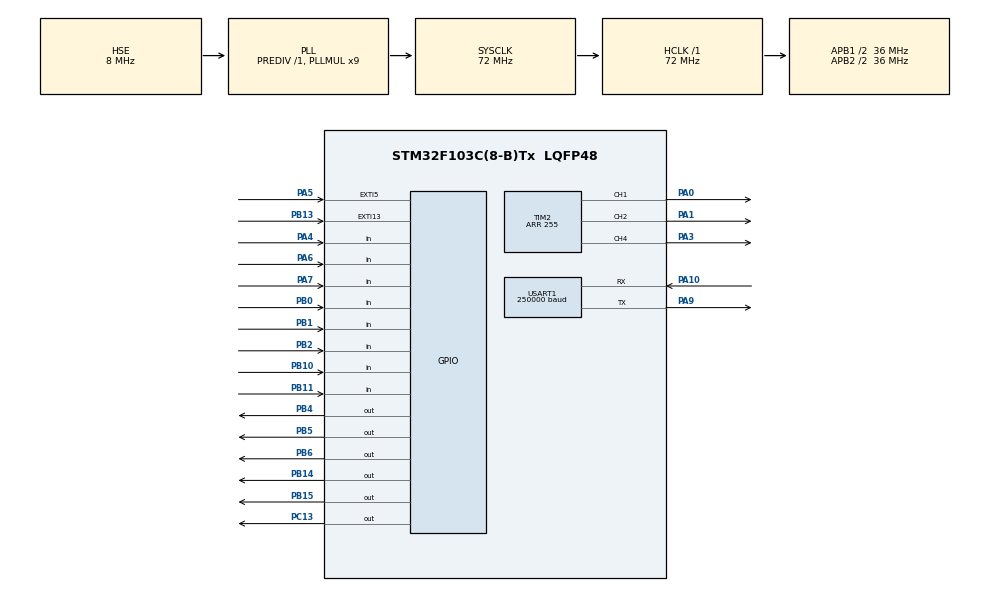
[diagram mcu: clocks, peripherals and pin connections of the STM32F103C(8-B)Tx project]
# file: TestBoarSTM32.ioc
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Mcu.Family=STM32F1
Mcu.Name=STM32F103C(8-B)Tx
Mcu.Package=LQFP48
NVIC.EXTI15_10_IRQn=true\:0\:0\:false\:false\:true\:true\:true\:true
NVIC.PriorityGroup=NVIC_PRIORITYGROUP_4
NVIC.TIM1_UP_IRQn=true\:0\:0\:false\:false\:true\:true\:true\:true
NVIC.USART1_IRQn=true\:1\:0\:true\:false\:true\:true\:true\:true
PA0-WKUP.Signal=S_TIM2_CH1_ETR
PA1.Signal=S_TIM2_CH2
PA10.Mode=Asynchronous
PA10.Signal=USART1_RX
PA13.Mode=Serial_Wire
PA13.Signal=SYS_JTMS-SWDIO
PA14.Mode=Serial_Wire
PA14.Signal=SYS_JTCK-SWCLK
PA3.Signal=S_TIM2_CH4
PA4.GPIO_PuPd=GPIO_PULLUP
PA4.Signal=GPIO_Input
PA5.GPIO_PuPd=GPIO_PULLUP
PA5.Signal=GPXTI5
PA6.GPIO_PuPd=GPIO_PULLUP
PA6.Signal=GPIO_Input
PA7.GPIO_PuPd=GPIO_PULLUP
PA7.Signal=GPIO_Input
PA9.Mode=Asynchronous
PA9.Signal=USART1_TX
PB0.GPIO_PuPd=GPIO_PULLUP
PB0.Signal=GPIO_Input
PB1.GPIO_PuPd=GPIO_PULLUP
PB1.Signal=GPIO_Input
PB10.GPIO_PuPd=GPIO_PULLUP
PB10.Signal=GPIO_Input
PB11.GPIO_PuPd=GPIO_PULLUP
PB11.Signal=GPIO_Input
PB13.Signal=GPXTI13
PB14.Signal=GPIO_Output
PB15.Signal=GPIO_Output
PB2.GPIO_PuPd=GPIO_PULLUP
PB2.Signal=GPIO_Input
PB4.Signal=GPIO_Output
PB5.Signal=GPIO_Output
PB6.Signal=GPIO_Output
PC13-TAMPER-RTC.Signal=GPIO_Output
PC14-OSC32_IN.Mode=LSE-External-Oscillator
PC14-OSC32_IN.Signal=RCC_OSC32_IN
PC15-OSC32_OUT.Mode=LSE-External-Oscillator
PC15-OSC32_OUT.Signal=RCC_OSC32_OUT
PD0-OSC_IN.Mode=HSE-External-Oscillator
PD0-OSC_IN.Signal=RCC_OSC_IN
PD1-OSC_OUT.Mode=HSE-External-Oscillator
PD1-OSC_OUT.Signal=RCC_OSC_OUT
ProjectManager.HeapSize=0x200
ProjectManager.StackSize=0x400
ProjectManager.TargetToolchain=MDK-ARM V5.32
RCC.AHBFreq_Value=72000000
RCC.APB1CLKDivider=RCC_HCLK_DIV2
RCC.APB1Freq_Value=36000000
RCC.APB1TimFreq_Value=72000000
RCC.APB2CLKDivider=RCC_HCLK_DIV2
RCC.APB2Freq_Value=36000000
RCC.APB2TimFreq_Value=72000000
RCC.HCLKFreq_Value=72000000
RCC.PLLMUL=RCC_PLL_MUL9
RCC.PLLSourceVirtual=RCC_PLLSOURCE_HSE
RCC.SYSCLKFreq_VALUE=72000000
RCC.SYSCLKSource=RCC_SYSCLKSOURCE_PLLCLK
RCC.USBFreq_Value=72000000
SH.S_TIM2_CH1_ETR.0=TIM2_CH1,PWM Generation1 CH1
SH.S_TIM2_CH2.0=TIM2_CH2,PWM Generation2 CH2
SH.S_TIM2_CH4.0=TIM2_CH4,PWM Generation4 CH4
TIM1.Period=5
TIM1.Prescaler=580
TIM2.Channel-PWM\ Generation1\ CH1=TIM_CHANNEL_1
TIM2.Channel-PWM\ Generation2\ CH2=TIM_CHANNEL_2
TIM2.Channel-PWM\ Generation4\ CH4=TIM_CHANNEL_4
TIM2.Period=255
USART1.BaudRate=250000
USART1.Mode=MODE_RX
USART1.StopBits=STOPBITS_2
USART1.VirtualMode=VM_ASYNC
VP_TIM1_VS_ClockSourceINT.Mode=Internal
VP_TIM2_VS_ClockSourceINT.Mode=Internal
board=custom

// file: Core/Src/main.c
/* USER CODE BEGIN Header */
/**
  ******************************************************************************
  * @file           : main.c
  * @brief          : Main program body
  ******************************************************************************
  * @attention
  *
  * Copyright (c) 2022 STMicroelectronics.
  * All rights reserved.
  *
  * This software is licensed under terms that can be found in the LICENSE file
  * in the root directory of this software component.
  * If no LICENSE file comes with this software, it is provided AS-IS.
  *
  ******************************************************************************
  */
/* USER CODE END Header */
#include "main.h"

/* USER CODE BEGIN Includes */
#define ADDRES_PIN_1 GPIOB, GPIO_PIN_11
#define ADDRES_PIN_2 GPIOB, GPIO_PIN_10
#define ADDRES_PIN_3 GPIOB, GPIO_PIN_2
#define ADDRES_PIN_4 GPIOB, GPIO_PIN_1
#define ADDRES_PIN_5 GPIOB, GPIO_PIN_0
#define ADDRES_PIN_6 GPIOA, GPIO_PIN_7
#define ADDRES_PIN_7 GPIOA, GPIO_PIN_6
#define ADDRES_PIN_8 GPIOA, GPIO_PIN_5
#define ADDRES_PIN_9 GPIOA, GPIO_PIN_4

#define STEP_MODE_1_1		0
#define STEP_MODE_1_2		1
#define STEP_MODE_1_4		2
#define STEP_MODE_1_8		3
#define STEP_MODE_1_16	4
#define STEP_MODE_1_32	5

#define ZERO_FOUND 		 				0
#define START_SEARHING_ZERO		1
#define SEARHING_ZERO  				2

//Протокол управления 0 - STEP_DIR 1 -  CW_CCW
#define PROTOCOL 0

#include <math.h>

#define MOVE 1
#define STOP 0

//Количество импульсов на один оборот мотора
int Steps_Rev = 3200;
//Максимальное кол-во оборотов при значении 255 на первом канале DMX
int64_t Max_Rev = 255;

//Множитель для получения необходимых кол-ва импульсов от 0 до 255 значений канала позиции
float multiplier = 0.0f;

float error = 0;
float max_error = 0;

int64_t setPosition = 0;
float set_speed = 0.0f;
float a = 1.0f/5000;

char search_zero = ZERO_FOUND;
char state = STOP;

//Тормозной путь при текущей скорости и ускорении
float deseleration_distance = 0;

//Точка в которой остановимся если начнем сейчас тормозить с заданным ускорением
int64_t stop_position = 0;

//Текущая скорость
double actualSpeed = 0;

//Текущее ускорение
float actualAcceleration = 0;

//Прошлое значение позиции, дробная часть
float oldActualPosition = 0;
//Прошлое значение позиции, целая часть, полное кол-во сделанных шагов
int64_t full_oldActualPosition = 0;

int64_t full_steps_actual_position = 0;
float actualPosition = 0;

//Переменные для работы DMX
#define COUNT_CHANNELS 7

uint8_t data[COUNT_CHANNELS] = {0};
uint8_t data_old[COUNT_CHANNELS] = {0};

//Номер текущего принимаемого канала, при отлове ошибки передачи, считаем что передача кадра завершена, будем обнулять DMX_Current_Channel для того что-бы заново копить каналы в буфер
unsigned int DMX_Current_Channel = 0;

//С какого канала начинаем принимать данные, по сути адрес DMX устройства
uint16_t DMX_Start_Channel = 0;

char DMX_Break = 0;

uint8_t byte_receive[1] = {0};

_Bool swich_arrdess[9] = {0};

/* USER CODE END Includes */

TIM_HandleTypeDef htim1;
TIM_HandleTypeDef htim2;

UART_HandleTypeDef huart1;

void SystemClock_Config(void);
static void MX_GPIO_Init(void);
static void MX_USART1_UART_Init(void);
static void MX_TIM1_Init(void);
static void MX_TIM2_Init(void);

/* USER CODE BEGIN 0 */

//Выбор режима микрошага для драйвера drv8825
void set_step_mode( int8_t type_mode)
{
	switch(type_mode) {

		case STEP_MODE_1_1:
			HAL_GPIO_WritePin(GPIOB, GPIO_PIN_4, GPIO_PIN_RESET);	//M0
			HAL_GPIO_WritePin(GPIOB, GPIO_PIN_5, GPIO_PIN_RESET); //M1
			HAL_GPIO_WritePin(GPIOB, GPIO_PIN_6, GPIO_PIN_RESET);	//M2
		break;

		case STEP_MODE_1_2:
			HAL_GPIO_WritePin(GPIOB, GPIO_PIN_4, GPIO_PIN_SET);	//M0
			HAL_GPIO_WritePin(GPIOB, GPIO_PIN_5, GPIO_PIN_RESET); //M1
			HAL_GPIO_WritePin(GPIOB, GPIO_PIN_6, GPIO_PIN_RESET);	//M2
		break;

		case STEP_MODE_1_4:
			HAL_GPIO_WritePin(GPIOB, GPIO_PIN_4, GPIO_PIN_RESET);	//M0
			HAL_GPIO_WritePin(GPIOB, GPIO_PIN_5, GPIO_PIN_SET); //M1
			HAL_GPIO_WritePin(GPIOB, GPIO_PIN_6, GPIO_PIN_RESET);	//M2
		break;

		case STEP_MODE_1_8:
			HAL_GPIO_WritePin(GPIOB, GPIO_PIN_4, GPIO_PIN_SET);	//M0
			HAL_GPIO_WritePin(GPIOB, GPIO_PIN_5, GPIO_PIN_SET); //M1
			HAL_GPIO_WritePin(GPIOB, GPIO_PIN_6, GPIO_PIN_RESET);	//M2
		break;

		case STEP_MODE_1_16:
			HAL_GPIO_WritePin(GPIOB, GPIO_PIN_4, GPIO_PIN_RESET);	//M0
			HAL_GPIO_WritePin(GPIOB, GPIO_PIN_5, GPIO_PIN_RESET); //M1
			HAL_GPIO_WritePin(GPIOB, GPIO_PIN_6, GPIO_PIN_SET);	//M2
		break;

		case STEP_MODE_1_32:
			HAL_GPIO_WritePin(GPIOB, GPIO_PIN_4, GPIO_PIN_RESET);	//M0
			HAL_GPIO_WritePin(GPIOB, GPIO_PIN_5, GPIO_PIN_SET); //M1
			HAL_GPIO_WritePin(GPIOB, GPIO_PIN_6, GPIO_PIN_SET);	//M2
		break;
	}
}

//Функция ожидания прихода в заданную точку
void Waiting_End_Move()
{
	HAL_Delay(10);
	while(state == MOVE) HAL_Delay(1);
}

//Обработчик прерывания датчика нуля
void HAL_GPIO_EXTI_Callback(uint16_t GPIO_Pin)
{
  if (GPIO_Pin == GPIO_PIN_13 && search_zero == SEARHING_ZERO)
  {
    actualPosition = 0;
		full_steps_actual_position = 0;
		setPosition = 0;
		search_zero = ZERO_FOUND;

  }
  else
    {
      __NOP();

    }
}

//Прерывание, срабатывает когда получен байт по UART
	void HAL_UART_RxCpltCallback (UART_HandleTypeDef *huart) {

  if(huart == &huart1)
		{
			//HAL_GPIO_TogglePin(GPIOC, GPIO_PIN_13);

			//Для того, что бы начать принимать только после получения сигнала BREAK, иначе после включения, рискуем принимать в середине передачи.
			if (DMX_Break == 1){

				if ((DMX_Current_Channel >= DMX_Start_Channel) && DMX_Current_Channel < (DMX_Start_Channel + COUNT_CHANNELS)){
					data[(DMX_Current_Channel - DMX_Start_Channel)] = byte_receive[0];
				}
				DMX_Current_Channel++;

			}
			//Ожидаем байта данных следующего канала
			HAL_UART_Receive_IT(&huart1, byte_receive, 1);

		}
}

void HAL_UART_ErrorCallback ( UART_HandleTypeDef *huart)
{
	//HAL_GPIO_TogglePin(GPIOC, GPIO_PIN_13);

		if (huart == &huart1)
			{

				__HAL_UART_CLEAR_FEFLAG(huart);

				DMX_Break = 1;

				if(DMX_Current_Channel > 513 )
				{
//					if(data[1] > 100 ) HAL_GPIO_WritePin(GPIOC, GPIO_PIN_13, GPIO_PIN_SET);
//					else HAL_GPIO_WritePin(GPIOC, GPIO_PIN_13, GPIO_PIN_RESET);
					//Если на одном из каналов произошло изменение, мигаем светодиодом
					if(
						data_old[0] != data[0] ||
						data_old[1] != data[1] ||
						data_old[2] != data[2] ||
						data_old[3] != data[3] ||
						data_old[4] != data[4] ||
						data_old[5] != data[5] ||
						data_old[6] != data[6]
						)
					{
						HAL_GPIO_WritePin(GPIOC, GPIO_PIN_13, GPIO_PIN_SET);
					}

					else HAL_GPIO_WritePin(GPIOC, GPIO_PIN_13, GPIO_PIN_RESET);

					if(search_zero == ZERO_FOUND)
					{

							setPosition = data[0]*255;
							setPosition += data[1];
							setPosition = setPosition*multiplier;
							set_speed = (data[2]/255.0)*0.7;
							a = 1.0/((((data[3]*data[3])/65025.0)*2000000)+1500);

						//a = 1.0/((data[3]*10000)+1500);
					}
	//				__HAL_TIM_SET_COMPARE(&htim2, TIM_CHANNEL_1, 65535);
	//				__HAL_TIM_SET_COMPARE(&htim2, TIM_CHANNEL_2, 64535);
	//				__HAL_TIM_SET_COMPARE(&htim2, TIM_CHANNEL_3, 65535);

					if(data_old[4] != data[4]) TIM2->CCR2 = data[4];
					if(data_old[5] != data[5]) TIM2->CCR1 = data[5];
					if(data_old[6] != data[6]) TIM2->CCR4 = data[6];

					memcpy(data_old , data, COUNT_CHANNELS);
				}
				DMX_Current_Channel = 0;

				//HAL_GPIO_TogglePin(GPIOC, GPIO_PIN_13);

			}

}

// функция которая срабатывает по таймеру 1, она расчитывает траекторию и говорит мотору когда нужно сделать шаг.

void HAL_TIM_PeriodElapsedCallback(TIM_HandleTypeDef *htim)
{

//			if(HAL_GPIO_ReadPin(GPIOB, GPIO_PIN_2) == 1) HAL_GPIO_WritePin(GPIOB, GPIO_PIN_5, GPIO_PIN_RESET);
//			else HAL_GPIO_WritePin(GPIOB, GPIO_PIN_5, GPIO_PIN_SET);

			error = 0;
			//Тормозной путь при текущей скорости и ускорении
			deseleration_distance = ( (fabs(actualSpeed) - a) * fabs(actualSpeed) ) / (2.0f * a) ;

			//Точка в которой остановимся если начнем сейчас тормозить с заданным ускорением
			stop_position = full_steps_actual_position;

			//Если протокол управления драйвером 0 - STEP/DIR
			#if PROTOCOL == 0
			HAL_GPIO_WritePin(GPIOB, GPIO_PIN_15, GPIO_PIN_RESET);
			#endif

			//Если протокол управления драйвером 1 - CW/CCW
			#if PROTOCOL == 1
			HAL_GPIO_WritePin(GPIOB, GPIO_PIN_15, GPIO_PIN_RESET);
			HAL_GPIO_WritePin(GPIOB, GPIO_PIN_14, GPIO_PIN_RESET);
			#endif

			//Расчитываем точу остановки, если начнем сейчас тормозить
			if (actualSpeed < 0) stop_position = full_steps_actual_position + (actualPosition - deseleration_distance);
			if (actualSpeed > 0) stop_position = full_steps_actual_position + (actualPosition + deseleration_distance);

			if(fabs(stop_position - setPosition) < 0.000001f) stop_position = setPosition;

			oldActualPosition = actualPosition;
			full_oldActualPosition = full_steps_actual_position;

			if (setPosition != full_steps_actual_position && actualSpeed != 0)
			{
				state = MOVE;
				HAL_GPIO_WritePin(GPIOB, GPIO_PIN_4, GPIO_PIN_RESET);
			}

				error = fabs(setPosition - stop_position);

				//Если мы сейчас начнём тормозить и проедем нужную точку
				if (
					(actualSpeed > 0 && stop_position >= setPosition && error < 4)||
					(actualSpeed < 0 && stop_position <= setPosition && error < 4))
				{

					if(max_error < error) max_error = error;

					//if(error > 4 ) HAL_GPIO_WritePin(GPIOB, GPIO_PIN_4, GPIO_PIN_SET);

					if( actualSpeed > 0 ) actualSpeed -= a;
					if( actualSpeed < 0 ) actualSpeed += a;

					actualPosition += actualSpeed;
					if(actualPosition >= 1)
					{
						actualPosition -= 1;
						full_steps_actual_position += 1;
					}
					if(actualPosition < 0)
					{
						actualPosition += 1;
						full_steps_actual_position -= 1;
					}

					if ((full_steps_actual_position >= setPosition && full_oldActualPosition < setPosition)||(full_oldActualPosition <= setPosition && full_oldActualPosition > setPosition))
					//if (fabs(actualPosition - setPosition ) <= 0.002)
					{
						state = STOP;
						full_steps_actual_position = setPosition;
						actualPosition = 0;
						actualSpeed = 0;
						HAL_GPIO_WritePin(GPIOB, GPIO_PIN_4, GPIO_PIN_SET);

					}

				}

				else
				{
					if (full_steps_actual_position < setPosition)
					{
						if (actualSpeed > set_speed)
						{
							actualSpeed -= a;
							if (actualSpeed < set_speed) actualSpeed = set_speed;

						}
						else if (actualSpeed < set_speed)
						{
							actualSpeed += a;
							if (actualSpeed > set_speed) actualSpeed = set_speed;
						}
					}
					else if (full_steps_actual_position > setPosition)
					{
						if (actualSpeed > -set_speed)
						{
							actualSpeed -= a;
							if (actualSpeed < -set_speed) actualSpeed = -set_speed;

						}
						else if (actualSpeed < -set_speed)
						{
							actualSpeed += a;
							if (actualSpeed > -set_speed) actualSpeed = -set_speed;
						}
					}
					actualPosition += actualSpeed;
					if(actualPosition >= 1)
					{
						actualPosition -= 1;
						full_steps_actual_position += 1;
					}
					if(actualPosition < 0)
					{
						actualPosition += 1;
						full_steps_actual_position -= 1;
					}

				}
				//STEP_DIR
				#if PROTOCOL == 0

				//Если актуальная позиция увеличилась на целое число по сравнению с прошлой позицией, устанавливаем прямое направление на ноге DIR контроллера ШД.
				if(full_steps_actual_position > full_oldActualPosition)
				{
					HAL_GPIO_WritePin(GPIOB, GPIO_PIN_14, GPIO_PIN_SET);

				}
				//А если уменьшилась, то устанавливаем обратное направление на ноге DIR контроллера ШД
				if(full_steps_actual_position < full_oldActualPosition)
				{
					HAL_GPIO_WritePin(GPIOB, GPIO_PIN_14, GPIO_PIN_RESET);

				}

				//Если прошлое значение актуальной позиции изменилось на целое число, шлём импульс на перемещение
				if(full_steps_actual_position != full_oldActualPosition)
				{
					HAL_GPIO_WritePin(GPIOB, GPIO_PIN_15, GPIO_PIN_SET);
				}

				#endif

				//CW_CCW
				#if PROTOCOL == 1

				//Если актуальная позиция увеличилась на целое число по сравнению с прошлой позицией, даем импульс на 15 ногу.
				if(full_steps_actual_position > full_oldActualPosition)
				{
					HAL_GPIO_WritePin(GPIOB, GPIO_PIN_15, GPIO_PIN_SET);

				}
				//А если уменьшилась, даем импульс на 14 ногу.
				if(full_steps_actual_position < full_oldActualPosition)
				{
					HAL_GPIO_WritePin(GPIOB, GPIO_PIN_14, GPIO_PIN_SET);

				}

				#endif

}

/* USER CODE END 0 */

int main(void)
{

  /* MCU Configuration--------------------------------------------------------*/

  /* Reset of all peripherals, Initializes the Flash interface and the Systick. */
  HAL_Init();

  /* Configure the system clock */
  SystemClock_Config();

  /* Initialize all configured peripherals */
  MX_GPIO_Init();
  MX_USART1_UART_Init();
  MX_TIM1_Init();
  MX_TIM2_Init();
  /* USER CODE BEGIN 2 */

	HAL_GPIO_WritePin(GPIOB, GPIO_PIN_6, GPIO_PIN_RESET);
	HAL_GPIO_WritePin(GPIOB, GPIO_PIN_5, GPIO_PIN_RESET);
	HAL_GPIO_WritePin(GPIOB, GPIO_PIN_4, GPIO_PIN_RESET);

	swich_arrdess[0] = !HAL_GPIO_ReadPin(ADDRES_PIN_1);
	swich_arrdess[1] = !HAL_GPIO_ReadPin(ADDRES_PIN_2);
	swich_arrdess[2] = !HAL_GPIO_ReadPin(ADDRES_PIN_3);
	swich_arrdess[3] = !HAL_GPIO_ReadPin(ADDRES_PIN_4);
	swich_arrdess[4] = !HAL_GPIO_ReadPin(ADDRES_PIN_5);
	swich_arrdess[5] = !HAL_GPIO_ReadPin(ADDRES_PIN_6);
	swich_arrdess[6] = !HAL_GPIO_ReadPin(ADDRES_PIN_7);
	swich_arrdess[7] = !HAL_GPIO_ReadPin(ADDRES_PIN_8);
	swich_arrdess[8] = !HAL_GPIO_ReadPin(ADDRES_PIN_9);

	for (int i = 0; i <= 8; i++)
	{

        if (swich_arrdess[i]) {

            DMX_Start_Channel |= 1 << i;
        }

  }
	if(DMX_Start_Channel == 0)
		{
			while(1)
			{
				HAL_GPIO_WritePin(GPIOC, GPIO_PIN_13, GPIO_PIN_SET);
				HAL_Delay(100);
				HAL_GPIO_WritePin(GPIOC, GPIO_PIN_13, GPIO_PIN_RESET);
				HAL_Delay(100);
				HAL_GPIO_WritePin(GPIOC, GPIO_PIN_13, GPIO_PIN_SET);
				HAL_Delay(100);
				HAL_GPIO_WritePin(GPIOC, GPIO_PIN_13, GPIO_PIN_RESET);
				HAL_Delay(1000);

			}
		}

	DMX_Start_Channel = DMX_Start_Channel;

	HAL_TIM_Base_Start_IT(&htim1);

	HAL_TIM_PWM_Start(&htim2, TIM_CHANNEL_1);
	HAL_TIM_PWM_Start(&htim2, TIM_CHANNEL_2);
	HAL_TIM_PWM_Start(&htim2, TIM_CHANNEL_3);
	HAL_TIM_PWM_Start(&htim2, TIM_CHANNEL_4);

	TIM2->CCR1 = 150;
	HAL_Delay(200);
	TIM2->CCR1 = 0;
	TIM2->CCR2 = 150;
	HAL_Delay(200);
	TIM2->CCR1 = 0;
	TIM2->CCR2 = 0;
	TIM2->CCR4 = 150;
	HAL_Delay(200);
	TIM2->CCR1 = 0;
	TIM2->CCR2 = 0;
	TIM2->CCR4 = 0;

	//set_step_mode(STEP_MODE_1_8);

	HAL_GPIO_WritePin(GPIOB, GPIO_PIN_4, GPIO_PIN_SET);	//M0
	HAL_GPIO_WritePin(GPIOB, GPIO_PIN_5, GPIO_PIN_SET); //M1
	HAL_GPIO_WritePin(GPIOB, GPIO_PIN_6, GPIO_PIN_SET); //M1

	HAL_UART_Receive_IT(&huart1, byte_receive, 1);

	multiplier = ((float)Steps_Rev * (float)Max_Rev)/65025.0f;

	set_speed = 0.01;
	a = 1.0/1000;

  /* USER CODE END 2 */

  /* Infinite loop */
  /* USER CODE BEGIN WHILE */
  while (1)
  {

		if(search_zero == START_SEARHING_ZERO)
		{
			//Если датчик уже перекрыт, то отъезжаем немного назад и потом движемся до срабатывания прерывания по датчику нуля
			if(HAL_GPIO_ReadPin(GPIOB, GPIO_PIN_13) == 1)
			{
				setPosition = -50;
				Waiting_End_Move();
				search_zero = SEARHING_ZERO;
				setPosition = 1000000;
			}
			//Если датчик ещё не перекрыт, то сразу двигаемся до срабатывания прерывания по датчику нуля
			else
			{
				search_zero = SEARHING_ZERO;
				setPosition = 1000000;
			}

		}

//		HAL_GPIO_WritePin(GPIOC, GPIO_PIN_13, GPIO_PIN_SET);
//		HAL_Delay(1000);
//		HAL_GPIO_WritePin(GPIOC, GPIO_PIN_13, GPIO_PIN_RESET);
//		HAL_Delay(1000);
    /* USER CODE END WHILE */

  }
}

void SystemClock_Config(void)
{
  RCC_OscInitTypeDef RCC_OscInitStruct = {0};
  RCC_ClkInitTypeDef RCC_ClkInitStruct = {0};

  /** Initializes the RCC Oscillators according to the specified parameters
  * in the RCC_OscInitTypeDef structure.
  */
  RCC_OscInitStruct.OscillatorType = RCC_OSCILLATORTYPE_HSE;
  RCC_OscInitStruct.HSEState = RCC_HSE_ON;
  RCC_OscInitStruct.HSEPredivValue = RCC_HSE_PREDIV_DIV1;
  RCC_OscInitStruct.HSIState = RCC_HSI_ON;
  RCC_OscInitStruct.PLL.PLLState = RCC_PLL_ON;
  RCC_OscInitStruct.PLL.PLLSource = RCC_PLLSOURCE_HSE;
  RCC_OscInitStruct.PLL.PLLMUL = RCC_PLL_MUL9;
  if (HAL_RCC_OscConfig(&RCC_OscInitStruct) != HAL_OK)
  {
    Error_Handler();
  }

  /** Initializes the CPU, AHB and APB buses clocks
  */
  RCC_ClkInitStruct.ClockType = RCC_CLOCKTYPE_HCLK|RCC_CLOCKTYPE_SYSCLK
                              |RCC_CLOCKTYPE_PCLK1|RCC_CLOCKTYPE_PCLK2;
  RCC_ClkInitStruct.SYSCLKSource = RCC_SYSCLKSOURCE_PLLCLK;
  RCC_ClkInitStruct.AHBCLKDivider = RCC_SYSCLK_DIV1;
  RCC_ClkInitStruct.APB1CLKDivider = RCC_HCLK_DIV2;
  RCC_ClkInitStruct.APB2CLKDivider = RCC_HCLK_DIV2;

  if (HAL_RCC_ClockConfig(&RCC_ClkInitStruct, FLASH_LATENCY_2) != HAL_OK)
  {
    Error_Handler();
  }
}

static void MX_TIM1_Init(void)
{

  TIM_ClockConfigTypeDef sClockSourceConfig = {0};
  TIM_MasterConfigTypeDef sMasterConfig = {0};

  htim1.Instance = TIM1;
  htim1.Init.Prescaler = 580;
  htim1.Init.CounterMode = TIM_COUNTERMODE_UP;
  htim1.Init.Period = 5;
  htim1.Init.ClockDivision = TIM_CLOCKDIVISION_DIV1;
  htim1.Init.RepetitionCounter = 0;
  htim1.Init.AutoReloadPreload = TIM_AUTORELOAD_PRELOAD_DISABLE;
  if (HAL_TIM_Base_Init(&htim1) != HAL_OK)
  {
    Error_Handler();
  }
  sClockSourceConfig.ClockSource = TIM_CLOCKSOURCE_INTERNAL;
  if (HAL_TIM_ConfigClockSource(&htim1, &sClockSourceConfig) != HAL_OK)
  {
    Error_Handler();
  }
  sMasterConfig.MasterOutputTrigger = TIM_TRGO_RESET;
  sMasterConfig.MasterSlaveMode = TIM_MASTERSLAVEMODE_DISABLE;
  if (HAL_TIMEx_MasterConfigSynchronization(&htim1, &sMasterConfig) != HAL_OK)
  {
    Error_Handler();
  }

}

static void MX_TIM2_Init(void)
{

  TIM_ClockConfigTypeDef sClockSourceConfig = {0};
  TIM_MasterConfigTypeDef sMasterConfig = {0};
  TIM_OC_InitTypeDef sConfigOC = {0};

  htim2.Instance = TIM2;
  htim2.Init.Prescaler = 0;
  htim2.Init.CounterMode = TIM_COUNTERMODE_UP;
  htim2.Init.Period = 255;
  htim2.Init.ClockDivision = TIM_CLOCKDIVISION_DIV1;
  htim2.Init.AutoReloadPreload = TIM_AUTORELOAD_PRELOAD_DISABLE;
  if (HAL_TIM_Base_Init(&htim2) != HAL_OK)
  {
    Error_Handler();
  }
  sClockSourceConfig.ClockSource = TIM_CLOCKSOURCE_INTERNAL;
  if (HAL_TIM_ConfigClockSource(&htim2, &sClockSourceConfig) != HAL_OK)
  {
    Error_Handler();
  }
  if (HAL_TIM_PWM_Init(&htim2) != HAL_OK)
  {
    Error_Handler();
  }
  sMasterConfig.MasterOutputTrigger = TIM_TRGO_RESET;
  sMasterConfig.MasterSlaveMode = TIM_MASTERSLAVEMODE_DISABLE;
  if (HAL_TIMEx_MasterConfigSynchronization(&htim2, &sMasterConfig) != HAL_OK)
  {
    Error_Handler();
  }
  sConfigOC.OCMode = TIM_OCMODE_PWM1;
  sConfigOC.Pulse = 0;
  sConfigOC.OCPolarity = TIM_OCPOLARITY_HIGH;
  sConfigOC.OCFastMode = TIM_OCFAST_DISABLE;
  if (HAL_TIM_PWM_ConfigChannel(&htim2, &sConfigOC, TIM_CHANNEL_1) != HAL_OK)
  {
    Error_Handler();
  }
  if (HAL_TIM_PWM_ConfigChannel(&htim2, &sConfigOC, TIM_CHANNEL_2) != HAL_OK)
  {
    Error_Handler();
  }
  if (HAL_TIM_PWM_ConfigChannel(&htim2, &sConfigOC, TIM_CHANNEL_4) != HAL_OK)
  {
    Error_Handler();
  }
  HAL_TIM_MspPostInit(&htim2);

}

static void MX_USART1_UART_Init(void)
{

  huart1.Instance = USART1;
  huart1.Init.BaudRate = 250000;
  huart1.Init.WordLength = UART_WORDLENGTH_8B;
  huart1.Init.StopBits = UART_STOPBITS_2;
  huart1.Init.Parity = UART_PARITY_NONE;
  huart1.Init.Mode = UART_MODE_RX;
  huart1.Init.HwFlowCtl = UART_HWCONTROL_NONE;
  huart1.Init.OverSampling = UART_OVERSAMPLING_16;
  if (HAL_UART_Init(&huart1) != HAL_OK)
  {
    Error_Handler();
  }

}

static void MX_GPIO_Init(void)
{
  GPIO_InitTypeDef GPIO_InitStruct = {0};

  /* GPIO Ports Clock Enable */
  __HAL_RCC_GPIOC_CLK_ENABLE();
  __HAL_RCC_GPIOD_CLK_ENABLE();
  __HAL_RCC_GPIOA_CLK_ENABLE();
  __HAL_RCC_GPIOB_CLK_ENABLE();

  /*Configure GPIO pin Output Level */
  HAL_GPIO_WritePin(GPIOC, GPIO_PIN_13, GPIO_PIN_RESET);

  /*Configure GPIO pin Output Level */
  HAL_GPIO_WritePin(GPIOB, GPIO_PIN_14|GPIO_PIN_15|GPIO_PIN_4|GPIO_PIN_5
                          |GPIO_PIN_6, GPIO_PIN_RESET);

  /*Configure GPIO pin : PC13 */
  GPIO_InitStruct.Pin = GPIO_PIN_13;
  GPIO_InitStruct.Mode = GPIO_MODE_OUTPUT_PP;
  GPIO_InitStruct.Pull = GPIO_NOPULL;
  GPIO_InitStruct.Speed = GPIO_SPEED_FREQ_LOW;
  HAL_GPIO_Init(GPIOC, &GPIO_InitStruct);

  /*Configure GPIO pins : PA4 PA6 PA7 */
  GPIO_InitStruct.Pin = GPIO_PIN_4|GPIO_PIN_6|GPIO_PIN_7;
  GPIO_InitStruct.Mode = GPIO_MODE_INPUT;
  GPIO_InitStruct.Pull = GPIO_PULLUP;
  HAL_GPIO_Init(GPIOA, &GPIO_InitStruct);

  /*Configure GPIO pin : PA5 */
  GPIO_InitStruct.Pin = GPIO_PIN_5;
  GPIO_InitStruct.Mode = GPIO_MODE_IT_RISING;
  GPIO_InitStruct.Pull = GPIO_PULLUP;
  HAL_GPIO_Init(GPIOA, &GPIO_InitStruct);

  /*Configure GPIO pins : PB0 PB1 PB2 PB10
                           PB11 */
  GPIO_InitStruct.Pin = GPIO_PIN_0|GPIO_PIN_1|GPIO_PIN_2|GPIO_PIN_10
                          |GPIO_PIN_11;
  GPIO_InitStruct.Mode = GPIO_MODE_INPUT;
  GPIO_InitStruct.Pull = GPIO_PULLUP;
  HAL_GPIO_Init(GPIOB, &GPIO_InitStruct);

  /*Configure GPIO pin : PB13 */
  GPIO_InitStruct.Pin = GPIO_PIN_13;
  GPIO_InitStruct.Mode = GPIO_MODE_IT_RISING;
  GPIO_InitStruct.Pull = GPIO_NOPULL;
  HAL_GPIO_Init(GPIOB, &GPIO_InitStruct);

  /*Configure GPIO pins : PB14 PB15 PB4 PB5
                           PB6 */
  GPIO_InitStruct.Pin = GPIO_PIN_14|GPIO_PIN_15|GPIO_PIN_4|GPIO_PIN_5
                          |GPIO_PIN_6;
  GPIO_InitStruct.Mode = GPIO_MODE_OUTPUT_PP;
  GPIO_InitStruct.Pull = GPIO_NOPULL;
  GPIO_InitStruct.Speed = GPIO_SPEED_FREQ_LOW;
  HAL_GPIO_Init(GPIOB, &GPIO_InitStruct);

  /* EXTI interrupt init*/
  HAL_NVIC_SetPriority(EXTI15_10_IRQn, 0, 0);
  HAL_NVIC_EnableIRQ(EXTI15_10_IRQn);

}

void Error_Handler(void)
{
  __disable_irq();
  while (1)
  {
  }
}
